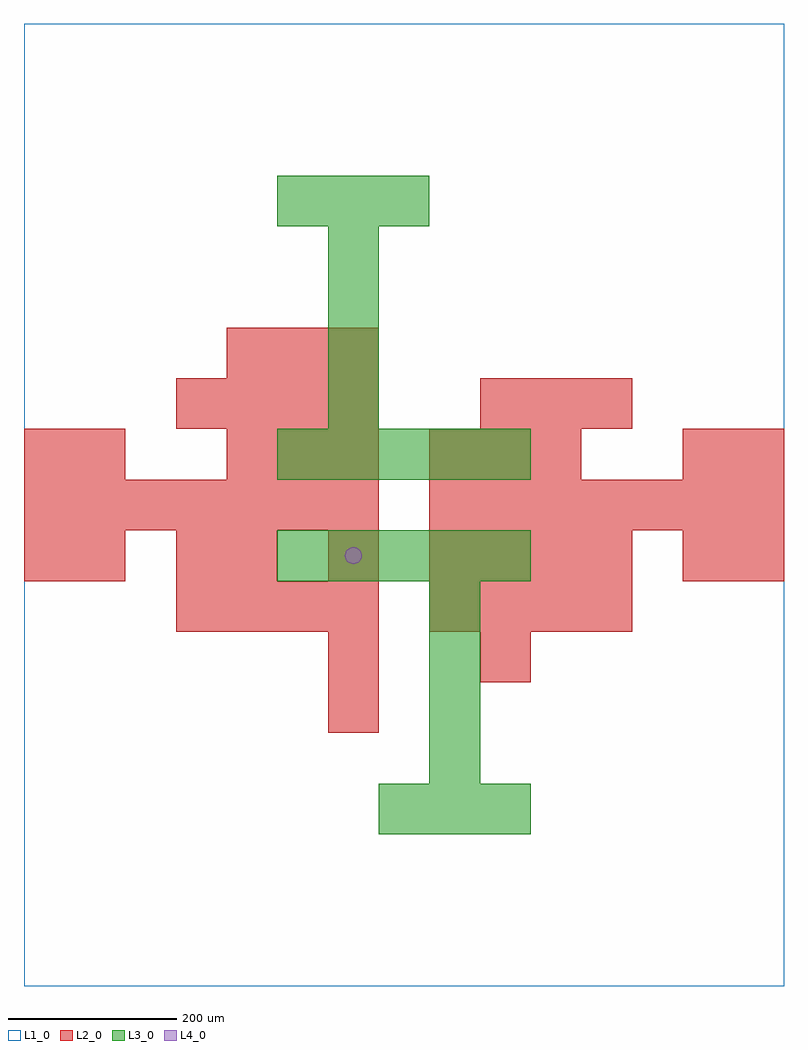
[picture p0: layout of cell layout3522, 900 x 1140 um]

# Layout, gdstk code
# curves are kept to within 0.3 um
import gdstk
lib = gdstk.Library(unit=1e-6, precision=1e-09)
def R(c, l, rs):  # rectangles x0, y0, x1, y1
    for r in rs: c.add(gdstk.rectangle(r[:2], r[2:], *l))
def A(c, l, x, y, w, h, nx, ny, dx, dy):  # array of equal rectangles
    R(c, l, [(x+i*dx, y+j*dy, x+i*dx+w, y+j*dy+h) for i in range(nx) for j in range(ny)])
def P(c, l, *ps):  # polygons
    for p in ps: c.add(gdstk.Polygon(p, *l))
L1_0 = (1, 0)
L2_0 = (2, 0)
L3_0 = (3, 0)
L4_0 = (4, 0)

layout3522 = lib.new_cell('layout3522')
R(layout3522, L1_0, [(0,0,900,1140)])
A(layout3522, L2_0, 180, 420, 60, 60, 4, 2, 60, 240)
A(layout3522, L2_0, 480, 420, 60, 60, 4, 1, 60, 0)
A(layout3522, L2_0, 240, 480, 60, 60, 3, 1, 120, 0)
A(layout3522, L2_0, 540, 480, 60, 60, 3, 2, 60, 180)
A(layout3522, L2_0, 0, 540, 60, 60, 7, 1, 60, 0)
A(layout3522, L2_0, 480, 540, 60, 60, 7, 1, 60, 0)
A(layout3522, L2_0, 240, 600, 60, 60, 3, 2, 60, 120)
A(layout3522, L2_0, 480, 600, 60, 60, 3, 1, 60, 0)
R(layout3522, L2_0, [(360,300,420,360), (360,360,420,420), (540,360,600,420), (0,480,60,540), (60,480,120,540), (180,480,240,540), (780,480,840,540), (840,480,900,540), (0,600,60,660), (60,600,120,660), (780,600,840,660), (840,600,900,660)])
A(layout3522, L3_0, 420, 180, 60, 60, 3, 1, 60, 0)
A(layout3522, L3_0, 480, 240, 60, 60, 1, 4, 0, 60)
A(layout3522, L3_0, 300, 480, 60, 60, 5, 2, 60, 120)
A(layout3522, L3_0, 360, 660, 60, 60, 1, 4, 0, 60)
A(layout3522, L3_0, 300, 900, 60, 60, 3, 1, 60, 0)
P(layout3522, L4_0, [(400,510),(399.239,513.827),(397.071,517.071),(393.827,519.239),(390,520),(386.173,519.239),(382.929,517.071),(380.761,513.827),(380,510),(380.761,506.173),(382.929,502.929),(386.173,500.761),(390,500),(393.827,500.761),(397.071,502.929),(399.239,506.173)])

lib.write_gds('layout3522.gds')
